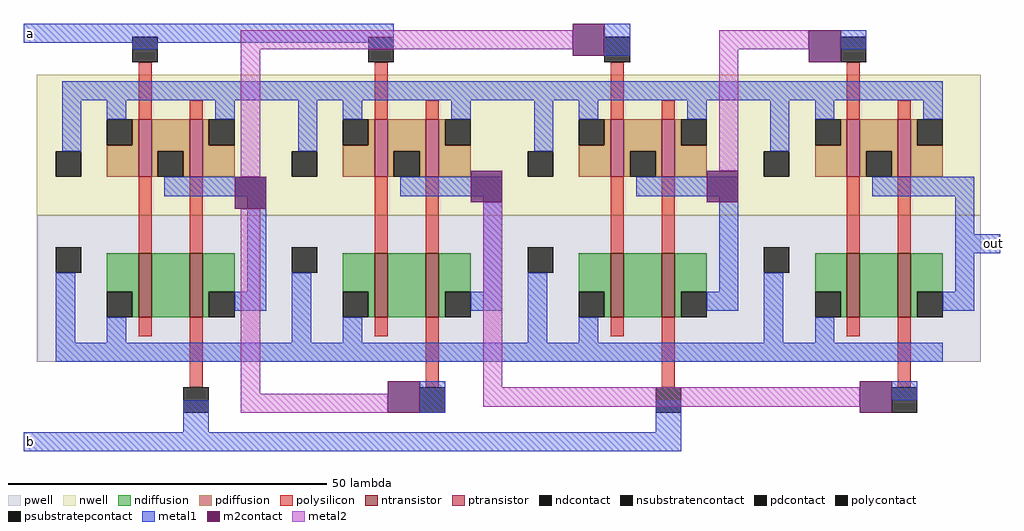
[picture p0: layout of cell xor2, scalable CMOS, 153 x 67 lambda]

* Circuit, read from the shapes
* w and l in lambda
.subckt xor2 GND! Vdd! a b out
M1 n1 a GND! GND! nfet w=10 l=2
M2 nand2_2/A b n1 GND! nfet w=10 l=2
M3 n2 a GND! GND! nfet w=10 l=2
M4 nand2_3/B nand2_2/A n2 GND! nfet w=10 l=2
M5 n3 nand2_2/A GND! GND! nfet w=10 l=2
M6 nand2_3/A b n3 GND! nfet w=10 l=2
M7 n4 nand2_3/A GND! GND! nfet w=10 l=2
M8 out nand2_3/B n4 GND! nfet w=10 l=2
M9 nand2_2/A a Vdd! Vdd! pfet w=9 l=2
M10 Vdd! b nand2_2/A Vdd! pfet w=9 l=2
M11 nand2_3/B a Vdd! Vdd! pfet w=9 l=2
M12 Vdd! nand2_2/A nand2_3/B Vdd! pfet w=9 l=2
M13 nand2_3/A nand2_2/A Vdd! Vdd! pfet w=9 l=2
M14 Vdd! b nand2_3/A Vdd! pfet w=9 l=2
M15 out nand2_3/A Vdd! Vdd! pfet w=9 l=2
M16 Vdd! nand2_3/B out Vdd! pfet w=9 l=2
.ends

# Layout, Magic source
magic
tech scmos
<< metal1 >>
rect -2 58 56 61
rect 15 57 19 58
rect 52 57 56 58
rect 89 56 93 61
rect 126 57 130 60
rect 27 49 142 52
rect 33 28 36 32
rect 70 29 73 33
rect 144 25 151 28
rect 23 8 138 11
rect 23 -3 27 2
rect 60 0 64 5
rect 97 -3 101 2
rect 134 2 138 5
rect -2 -6 101 -3
<< m2contact >>
rect 84 56 89 61
rect 121 55 126 60
rect 31 32 36 37
rect 68 33 73 38
rect 105 33 110 38
rect 55 0 60 5
rect 129 0 134 5
<< metal2 >>
rect 32 57 84 60
rect 32 37 35 57
rect 107 57 121 60
rect 107 38 110 57
rect 32 3 35 32
rect 32 0 55 3
rect 70 4 73 33
rect 70 1 129 4
use nand2  nand2_1
transform 1 0 27 0 1 15
box 10 -15 47 44
use nand2  nand2_0
transform 1 0 -10 0 1 15
box 10 -15 47 44
use nand2  nand2_2
transform 1 0 64 0 1 15
box 10 -15 47 44
use nand2  nand2_3
transform 1 0 101 0 1 15
box 10 -15 47 44
<< labels >>
rlabel metal1 -2 58 0 61 7 a
rlabel metal1 -2 -6 0 -3 7 b
rlabel metal1 149 25 151 28 3 out
<< end >>

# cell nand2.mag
magic
tech scmos
<< nwell >>
rect 10 16 47 38
<< pwell >>
rect 10 -7 47 16
<< ntransistor >>
rect 26 0 28 10
rect 34 0 36 10
<< ptransistor >>
rect 26 22 28 31
rect 34 22 36 31
<< ndiffusion >>
rect 21 4 26 10
rect 25 0 26 4
rect 28 0 34 10
rect 36 4 41 10
rect 36 0 37 4
<< pdiffusion >>
rect 25 27 26 31
rect 21 22 26 27
rect 28 26 34 31
rect 28 22 29 26
rect 33 22 34 26
rect 36 27 37 31
rect 36 22 41 27
<< ndcontact >>
rect 21 0 25 4
rect 37 0 41 4
<< pdcontact >>
rect 21 27 25 31
rect 29 22 33 26
rect 37 27 41 31
<< psubstratepcontact >>
rect 13 7 17 11
<< nsubstratencontact >>
rect 13 22 17 26
<< polysilicon >>
rect 26 31 28 40
rect 34 31 36 34
rect 26 10 28 22
rect 34 10 36 22
rect 26 -3 28 0
rect 34 -11 36 0
<< polycontact >>
rect 25 40 29 44
rect 33 -15 37 -11
<< metal1 >>
rect 14 34 41 37
rect 14 26 17 34
rect 21 31 24 34
rect 38 31 41 34
rect 30 19 46 22
rect 13 -4 16 7
rect 43 4 46 19
rect 41 1 46 4
rect 21 -4 24 0
rect 13 -7 41 -4
<< labels >>
rlabel metal1 14 34 41 37 1 Vdd!
rlabel metal1 13 -7 41 -4 5 GND!
rlabel metal1 43 12 46 15 3 out
port 3 e
rlabel polycontact 25 40 29 44 1 A
port 2 n
rlabel polycontact 33 -15 37 -11 5 B
port 1 s
<< end >>
